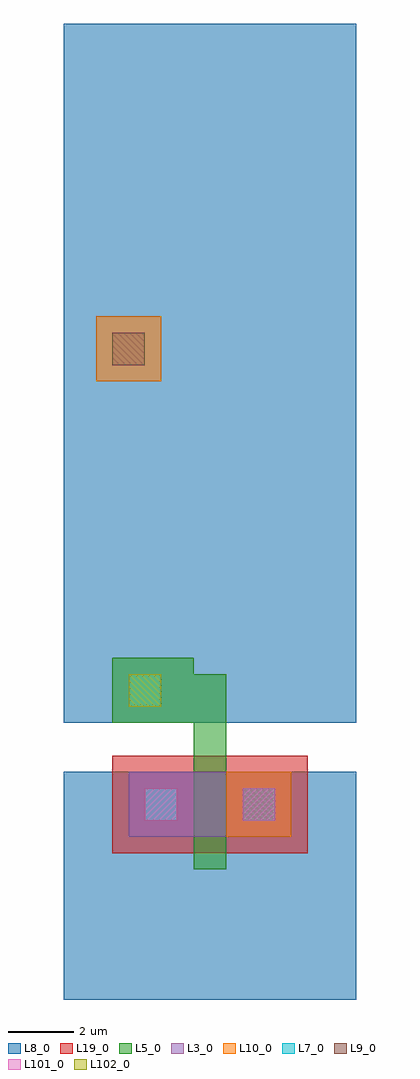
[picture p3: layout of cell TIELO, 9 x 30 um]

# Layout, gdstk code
import gdstk
lib = gdstk.Library(unit=1e-6, precision=1e-09)
def R(c, l, rs):  # rectangles x0, y0, x1, y1
    for r in rs: c.add(gdstk.rectangle(r[:2], r[2:], *l))
L3_0 = (3, 0)
L5_0 = (5, 0)
L7_0 = (7, 0)
L8_0 = (8, 0)
L9_0 = (9, 0)
L10_0 = (10, 0)
L19_0 = (19, 0)
L101_0 = (101, 0)
L102_0 = (102, 0)

tielo = lib.new_cell('TIELO')
R(tielo, L3_0, [(2,5,7,7)])
R(tielo, L5_0, [(4,4,5,10), (1.5,8.5,4,10.5)])
R(tielo, L7_0, [(2.5,5.5,3.5,6.5), (5.5,5.5,6.5,6.5), (2,9,3,10)])
R(tielo, L8_0, [(0,0,9,7), (5,5,7,7), (0,8.5,9,30)])
R(tielo, L9_0, [(5.5,5.5,6.5,6.5), (1.5,19.5,2.5,20.5)])
R(tielo, L10_0, [(5,5,7,7), (1,19,3,21)])
R(tielo, L19_0, [(1.5,4.5,7.5,7.5)])
R(tielo, L101_0, [(2.5,5.5,3.5,6.5), (5.5,5.5,6.5,6.5)])
R(tielo, L102_0, [(2,9,3,10)])

lib.write_gds('TIELO.gds')
